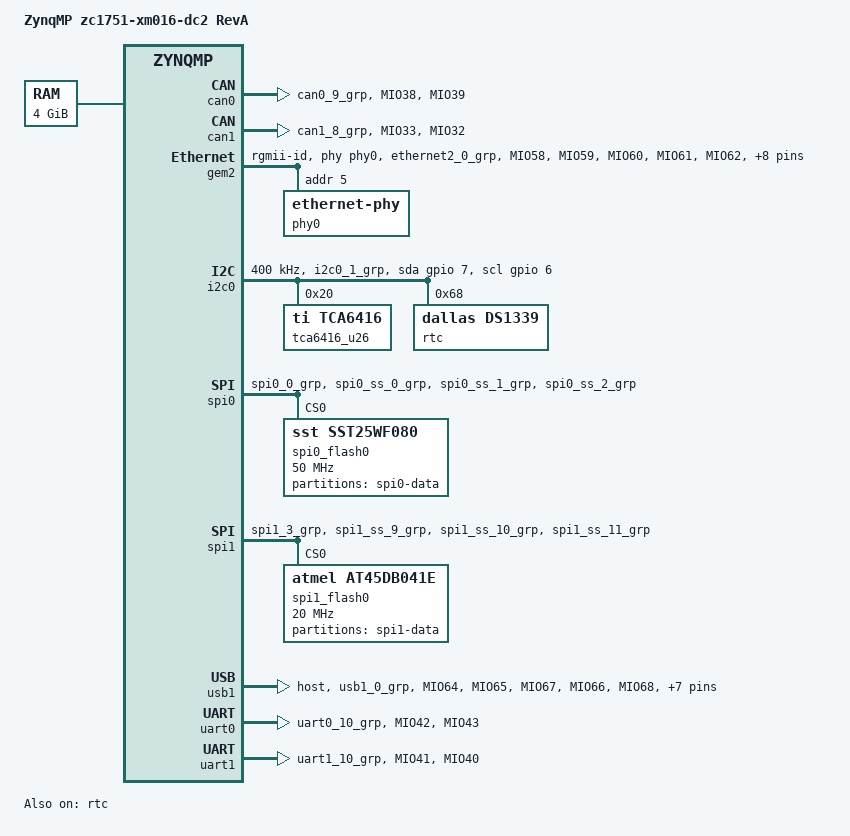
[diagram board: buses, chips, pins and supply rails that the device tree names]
// SPDX-License-Identifier: GPL-2.0+
/*
 * dts file for Xilinx ZynqMP zc1751-xm016-dc2
 *
 * (C) Copyright 2015 - 2021, Xilinx, Inc.
 *
 * Michal Simek <michal.simek@xilinx.com>
 */

/dts-v1/;

#include "zynqmp.dtsi"
#include "zynqmp-clk-ccf.dtsi"
#include <dt-bindings/gpio/gpio.h>
#include <dt-bindings/pinctrl/pinctrl-zynqmp.h>

/ {
	model = "ZynqMP zc1751-xm016-dc2 RevA";
	compatible = "xlnx,zynqmp-zc1751", "xlnx,zynqmp";

	aliases {
		can0 = &can0;
		can1 = &can1;
		ethernet0 = &gem2;
		i2c0 = &i2c0;
		rtc0 = &rtc;
		serial0 = &uart0;
		serial1 = &uart1;
		spi0 = &spi0;
		spi1 = &spi1;
	};

	chosen {
		bootargs = "earlycon";
		stdout-path = "serial0:115200n8";
	};

	memory@0 {
		device_type = "memory";
		reg = <0x0 0x0 0x0 0x80000000>, <0x8 0x00000000 0x0 0x80000000>;
	};
};

&can0 {
	status = "okay";
	pinctrl-names = "default";
	pinctrl-0 = <&pinctrl_can0_default>;
};

&can1 {
	status = "okay";
	pinctrl-names = "default";
	pinctrl-0 = <&pinctrl_can1_default>;
};

&fpd_dma_chan1 {
	status = "okay";
};

&fpd_dma_chan2 {
	status = "okay";
};

&fpd_dma_chan3 {
	status = "okay";
};

&fpd_dma_chan4 {
	status = "okay";
};

&fpd_dma_chan5 {
	status = "okay";
};

&fpd_dma_chan6 {
	status = "okay";
};

&fpd_dma_chan7 {
	status = "okay";
};

&fpd_dma_chan8 {
	status = "okay";
};

&gem2 {
	status = "okay";
	phy-handle = <&phy0>;
	phy-mode = "rgmii-id";
	pinctrl-names = "default";
	pinctrl-0 = <&pinctrl_gem2_default>;
	phy0: ethernet-phy@5 {
		reg = <5>;
		ti,rx-internal-delay = <0x8>;
		ti,tx-internal-delay = <0xa>;
		ti,fifo-depth = <0x1>;
		ti,dp83867-rxctrl-strap-quirk;
	};
};

&gpio {
	status = "okay";
};

&i2c0 {
	status = "okay";
	clock-frequency = <400000>;
	pinctrl-names = "default", "gpio";
	pinctrl-0 = <&pinctrl_i2c0_default>;
	pinctrl-1 = <&pinctrl_i2c0_gpio>;
	scl-gpios = <&gpio 6 GPIO_ACTIVE_HIGH>;
	sda-gpios = <&gpio 7 GPIO_ACTIVE_HIGH>;

	tca6416_u26: gpio@20 {
		compatible = "ti,tca6416";
		reg = <0x20>;
		gpio-controller;
		#gpio-cells = <2>;
		/* IRQ not connected */
	};

	rtc@68 {
		compatible = "dallas,ds1339";
		reg = <0x68>;
	};
};

&pinctrl0 {
	status = "okay";
	pinctrl_can0_default: can0-default {
		mux {
			function = "can0";
			groups = "can0_9_grp";
		};

		conf {
			groups = "can0_9_grp";
			slew-rate = <SLEW_RATE_SLOW>;
			power-source = <IO_STANDARD_LVCMOS18>;
		};

		conf-rx {
			pins = "MIO38";
			bias-high-impedance;
		};

		conf-tx {
			pins = "MIO39";
			bias-disable;
		};
	};

	pinctrl_can1_default: can1-default {
		mux {
			function = "can1";
			groups = "can1_8_grp";
		};

		conf {
			groups = "can1_8_grp";
			slew-rate = <SLEW_RATE_SLOW>;
			power-source = <IO_STANDARD_LVCMOS18>;
		};

		conf-rx {
			pins = "MIO33";
			bias-high-impedance;
		};

		conf-tx {
			pins = "MIO32";
			bias-disable;
		};
	};

	pinctrl_i2c0_default: i2c0-default {
		mux {
			groups = "i2c0_1_grp";
			function = "i2c0";
		};

		conf {
			groups = "i2c0_1_grp";
			bias-pull-up;
			slew-rate = <SLEW_RATE_SLOW>;
			power-source = <IO_STANDARD_LVCMOS18>;
		};
	};

	pinctrl_i2c0_gpio: i2c0-gpio {
		mux {
			groups = "gpio0_6_grp", "gpio0_7_grp";
			function = "gpio0";
		};

		conf {
			groups = "gpio0_6_grp", "gpio0_7_grp";
			slew-rate = <SLEW_RATE_SLOW>;
			power-source = <IO_STANDARD_LVCMOS18>;
		};
	};

	pinctrl_uart0_default: uart0-default {
		mux {
			groups = "uart0_10_grp";
			function = "uart0";
		};

		conf {
			groups = "uart0_10_grp";
			slew-rate = <SLEW_RATE_SLOW>;
			power-source = <IO_STANDARD_LVCMOS18>;
		};

		conf-rx {
			pins = "MIO42";
			bias-high-impedance;
		};

		conf-tx {
			pins = "MIO43";
			bias-disable;
		};
	};

	pinctrl_uart1_default: uart1-default {
		mux {
			groups = "uart1_10_grp";
			function = "uart1";
		};

		conf {
			groups = "uart1_10_grp";
			slew-rate = <SLEW_RATE_SLOW>;
			power-source = <IO_STANDARD_LVCMOS18>;
		};

		conf-rx {
			pins = "MIO41";
			bias-high-impedance;
		};

		conf-tx {
			pins = "MIO40";
			bias-disable;
		};
	};

	pinctrl_usb1_default: usb1-default {
		mux {
			groups = "usb1_0_grp";
			function = "usb1";
		};

		conf {
			groups = "usb1_0_grp";
			slew-rate = <SLEW_RATE_SLOW>;
			power-source = <IO_STANDARD_LVCMOS18>;
		};

		conf-rx {
			pins = "MIO64", "MIO65", "MIO67";
			bias-high-impedance;
		};

		conf-tx {
			pins = "MIO66", "MIO68", "MIO69", "MIO70", "MIO71",
			       "MIO72", "MIO73", "MIO74", "MIO75";
			bias-disable;
		};
	};

	pinctrl_gem2_default: gem2-default {
		mux {
			function = "ethernet2";
			groups = "ethernet2_0_grp";
		};

		conf {
			groups = "ethernet2_0_grp";
			slew-rate = <SLEW_RATE_SLOW>;
			power-source = <IO_STANDARD_LVCMOS18>;
		};

		conf-rx {
			pins = "MIO58", "MIO59", "MIO60", "MIO61", "MIO62",
									"MIO63";
			bias-high-impedance;
			low-power-disable;
		};

		conf-tx {
			pins = "MIO52", "MIO53", "MIO54", "MIO55", "MIO56",
									"MIO57";
			bias-disable;
			low-power-enable;
		};

		mux-mdio {
			function = "mdio2";
			groups = "mdio2_0_grp";
		};

		conf-mdio {
			groups = "mdio2_0_grp";
			slew-rate = <SLEW_RATE_SLOW>;
			power-source = <IO_STANDARD_LVCMOS18>;
			bias-disable;
		};
	};

	pinctrl_nand0_default: nand0-default {
		mux {
			groups = "nand0_0_grp";
			function = "nand0";
		};

		conf {
			groups = "nand0_0_grp";
			bias-pull-up;
		};

		mux-ce {
			groups = "nand0_ce_0_grp";
			function = "nand0_ce";
		};

		conf-ce {
			groups = "nand0_ce_0_grp";
			bias-pull-up;
		};

		mux-rb {
			groups = "nand0_rb_0_grp";
			function = "nand0_rb";
		};

		conf-rb {
			groups = "nand0_rb_0_grp";
			bias-pull-up;
		};

		mux-dqs {
			groups = "nand0_dqs_0_grp";
			function = "nand0_dqs";
		};

		conf-dqs {
			groups = "nand0_dqs_0_grp";
			bias-pull-up;
		};
	};

	pinctrl_spi0_default: spi0-default {
		mux {
			groups = "spi0_0_grp";
			function = "spi0";
		};

		conf {
			groups = "spi0_0_grp";
			bias-disable;
			slew-rate = <SLEW_RATE_SLOW>;
			power-source = <IO_STANDARD_LVCMOS18>;
		};

		mux-cs {
			groups = "spi0_ss_0_grp", "spi0_ss_1_grp",
							"spi0_ss_2_grp";
			function = "spi0_ss";
		};

		conf-cs {
			groups = "spi0_ss_0_grp", "spi0_ss_1_grp",
							"spi0_ss_2_grp";
			bias-disable;
		};
	};

	pinctrl_spi1_default: spi1-default {
		mux {
			groups = "spi1_3_grp";
			function = "spi1";
		};

		conf {
			groups = "spi1_3_grp";
			bias-disable;
			slew-rate = <SLEW_RATE_SLOW>;
			power-source = <IO_STANDARD_LVCMOS18>;
		};

		mux-cs {
			groups = "spi1_ss_9_grp", "spi1_ss_10_grp",
							"spi1_ss_11_grp";
			function = "spi1_ss";
		};

		conf-cs {
			groups = "spi1_ss_9_grp", "spi1_ss_10_grp",
							"spi1_ss_11_grp";
			bias-disable;
		};
	};
};

&rtc {
	status = "okay";
};

&spi0 {
	status = "okay";
	num-cs = <1>;
	pinctrl-names = "default";
	pinctrl-0 = <&pinctrl_spi0_default>;

	spi0_flash0: flash@0 {
		#address-cells = <1>;
		#size-cells = <1>;
		compatible = "sst,sst25wf080", "jedec,spi-nor";
		spi-max-frequency = <50000000>;
		reg = <0>;

		partition@0 {
			label = "spi0-data";
			reg = <0x0 0x100000>;
		};
	};
};

&spi1 {
	status = "okay";
	num-cs = <1>;
	pinctrl-names = "default";
	pinctrl-0 = <&pinctrl_spi1_default>;

	spi1_flash0: flash@0 {
		#address-cells = <1>;
		#size-cells = <1>;
		compatible = "atmel,at45db041e", "atmel,at45", "atmel,dataflash";
		spi-max-frequency = <20000000>;
		reg = <0>;

		partition@0 {
			label = "spi1-data";
			reg = <0x0 0x84000>;
		};
	};
};

/* ULPI SMSC USB3320 */
&usb1 {
	status = "okay";
	pinctrl-names = "default";
	pinctrl-0 = <&pinctrl_usb1_default>;
	dr_mode = "host";
};

&uart0 {
	status = "okay";
	pinctrl-names = "default";
	pinctrl-0 = <&pinctrl_uart0_default>;
};

&uart1 {
	status = "okay";
	pinctrl-names = "default";
	pinctrl-0 = <&pinctrl_uart1_default>;
};
